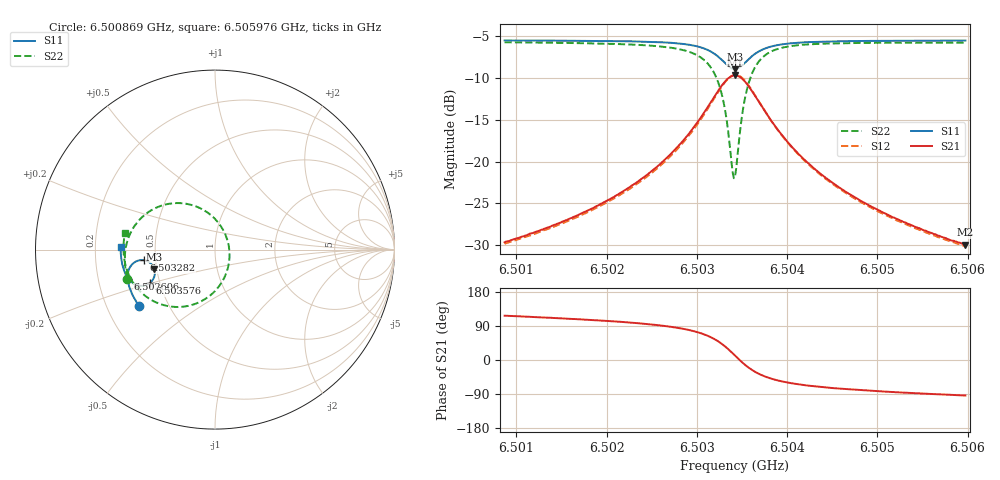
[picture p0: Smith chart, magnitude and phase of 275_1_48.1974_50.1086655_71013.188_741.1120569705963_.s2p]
#  HZ  S  RI  R  50.00
! Rohde & Schwarz Vector Network Analyzer
! Rohde-Schwarz,ZNB20-2Port,1311601062101988,3.16
! Created: UTC 3/20/2024, 11:48:19 AM
! freq[Hz]  re:S11  im:S11  re:S21  im:S21  re:S12  im:S12  re:S22  im:S22
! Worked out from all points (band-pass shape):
!   401 points, 6.500869 GHz to 6.505976 GHz, reference 50 ohm
!   highest |S21| = -9.73 dB at 6.503423 GHz (marker M1); lowest = -29.9 dB at 6.505976 GHz (marker M2)
!   |S21| within 3 dB of the highest: 6.503167 GHz to 6.503678 GHz (510.6 kHz wide, 0.00785 % of centre)
!   lowest |S11| = -9.0 dB at 6.503423 GHz (marker M3), VSWR 2.10, Z = 24.2 - j6.03 ohm
!   |S11| at or under -10 dB: nowhere
!   |S22| runs from -22.0 to -5.8 dB; largest |S21 - S12| = 0.011
!   S11 on the Smith chart (normalised r, x): 6.500869 GHz: 0.34, -0.30; 6.502606 GHz: 0.33, -0.15; 6.503282 GHz: 0.43, -0.06; 6.503576 GHz: 0.44, -0.20; 6.505976 GHz: 0.31, +0.01
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6.5008693e9  -0.4225 -0.3143  -0.0149 0.0294  -0.0133 0.0295  -0.4877 -0.1613
6.5017248e9  -0.4598 -0.2518  -0.0143 0.047  -0.012 0.0466  -0.502 -0.0717
6.5021844e9  -0.4764 -0.2115  -0.0118 0.0655  -0.00873 0.0645  -0.4999 -0.00777
6.5025802e9  -0.4861 -0.1685  -0.00284 0.0952  0.00079 0.0929  -0.4809 0.0694
6.5026057e9  -0.4863 -0.1654  -0.00153 0.098  0.00209 0.0957  -0.4785 0.0756
6.5028611e9  -0.4846 -0.1275  0.0194 0.1343  0.0233 0.1303  -0.4342 0.1507
6.5030271e9  -0.4723 -0.0959  0.055 0.1687  0.0579 0.1633  -0.365 0.2131
6.5031803e9  -0.4391 -0.0656  0.1287 0.1989  0.1301 0.1926  -0.2295 0.2584
6.5032824e9  -0.3963 -0.0589  0.2143 0.1898  0.2143 0.1846  -0.0811 0.2299
6.5033335e9  -0.3708 -0.0677  0.2623 0.1616  0.2631 0.1571  -0.00109 0.1721
6.5033974e9  -0.3444 -0.0941  0.3096 0.0981  0.312 0.0931  0.0699 0.0499
6.5034229e9  -0.3381 -0.1086  0.3195 0.0661  0.3226 0.0602  0.0805 -0.00978
6.5034484e9  -0.3352 -0.1242  0.323 0.0326  0.3264 0.0257  0.0784 -0.0708
6.5035123e9  -0.3424 -0.161  0.3046 -0.0445  0.3067 -0.0543  0.0226 -0.2044
6.5035761e9  -0.3635 -0.1865  0.2621 -0.098  0.2609 -0.1091  -0.0735 -0.2862
6.5036783e9  -0.4027 -0.2014  0.1881 -0.1337  0.1829 -0.1429  -0.222 -0.3195
6.5038442e9  -0.4484 -0.1917  0.1073 -0.1307  0.1005 -0.1355  -0.3676 -0.273
6.504023e9  -0.4756 -0.1703  0.0632 -0.1107  0.0571 -0.1129  -0.4389 -0.2085
6.5042783e9  -0.4963 -0.1403  0.0335 -0.0867  0.0289 -0.0872  -0.4818 -0.1368
6.5046742e9  -0.5121 -0.0994  0.0144 -0.0632  0.0111 -0.0628  -0.5044 -0.0599
6.5051338e9  -0.5212 -0.0572  0.00506 -0.0474  0.00265 -0.0468  -0.5099 0.00367
6.5059765e9  -0.5258 0.0139  -0.00203 -0.0318  -0.00342 -0.0311  -0.5019 0.0917
